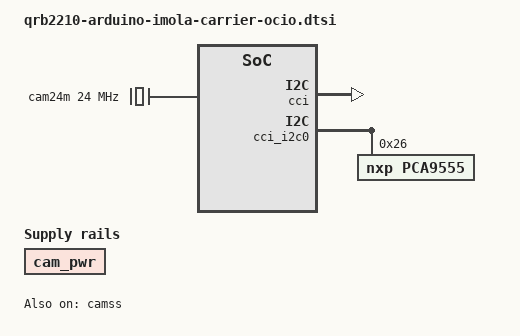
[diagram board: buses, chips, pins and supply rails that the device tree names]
// SPDX-License-Identifier: (GPL-2.0+ OR BSD-3-Clause)
/*
 * Copyright (c) 2025, Arduino SA
 */

/dts-v1/;
/plugin/;

#include <dt-bindings/gpio/gpio.h>

&{/} {
	cam_pwr: cam-pwr {
		compatible = "regulator-fixed";
		regulator-name = "cam-pwr";
		startup-delay-us = <100000>;
		enable-active-high;
	};
};

&clocks {
	cam24m: cam-clk {
		compatible = "fixed-clock";
		#clock-cells = <0>;
		clock-frequency = <24000000>;
		clock-output-names = "cam24m";
	};
};

&cci {
	status= "okay";
};

&camss {
       status = "okay";

       vdda-csiphy-1p2-supply = <&pm4125_l5>;
       vdda-pll-1p8-supply = <&pm4125_l13>;
};

&cci_i2c0 {
	#address-cells = <1>;
	#size-cells = <0>;

	pca9555: gpio@26 {
		compatible = "nxp,pca9555";
		reg = <0x26>;
		gpio-controller;
		#gpio-cells = <2>;
	};
};
